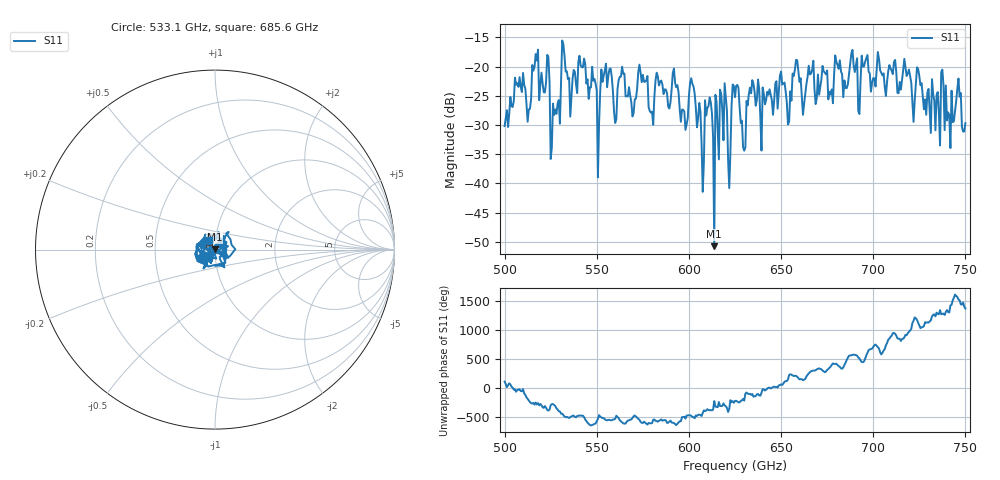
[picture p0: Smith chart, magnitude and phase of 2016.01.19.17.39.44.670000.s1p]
!Created with skrf (http://scikit-rf.org).
# GHz S RI R 50.0
!freq ReS11 ImS11
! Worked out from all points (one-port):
!   401 points, 500 GHz to 750 GHz, reference 50 ohm
!   lowest |S11| = -50.7 dB at 613.8 GHz (marker M1), VSWR 1.01, Z = 49.8 + j0.219 ohm
!   |S11| at or under -10 dB: start of sweep to end of sweep
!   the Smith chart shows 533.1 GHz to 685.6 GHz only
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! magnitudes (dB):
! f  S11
! 500 GHz  -30.2
! 506.9 GHz  -22.9
! 513.1 GHz  -27.4
! 516.9 GHz  -17.8
! 523.1 GHz  -18.0
! 526.2 GHz  -26.3
! 531.2 GHz  -15.5
! 541.9 GHz  -20.1
! 550.6 GHz  -39.0
! 553.8 GHz  -21.6
! 560 GHz  -29.7
! 562.5 GHz  -21.7
! 573.8 GHz  -21.0
! 579.4 GHz  -27.9
! 583.1 GHz  -21.7
! 593.8 GHz  -23.2
! 613.8 GHz  -50.7
! 618.1 GHz  -27.5
! 621.9 GHz  -40.8
! 625 GHz  -25.2
! 629.4 GHz  -33.8
! 633.8 GHz  -24.6
! 656.2 GHz  -21.2
! 687.5 GHz  -19.7
! 718.8 GHz  -21.2
! 735 GHz  -24.4
! 746.2 GHz  -22.0
! 750 GHz  -29.7
